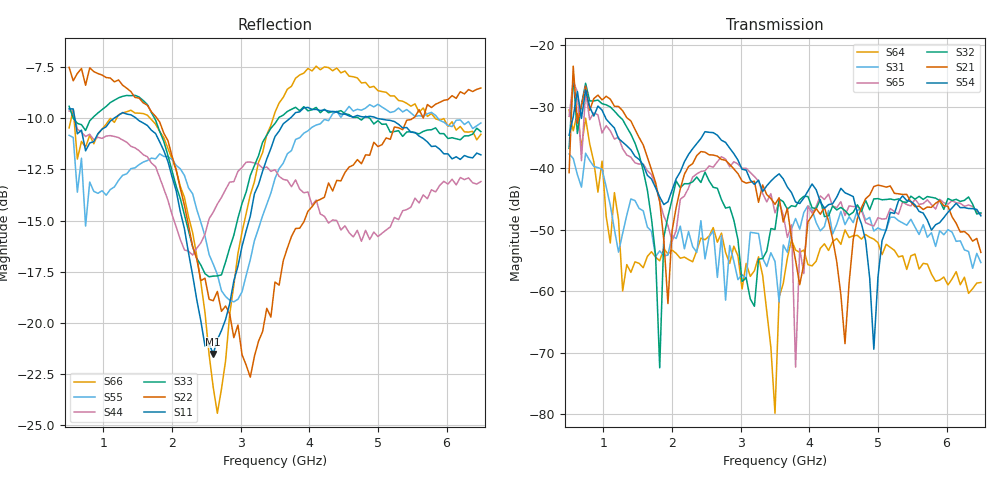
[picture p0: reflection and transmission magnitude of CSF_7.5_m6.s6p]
!Keysight Technologies,M9804A,MY58100912,A.14.10.03
!Date: Thursday, April 27, 2023 10:28:33
!Correction: S11(C  6-Port  )
!S12(C  6-Port  )
!S13(C  6-Port  )
!S14(C  6-Port  )
!S15(C  6-Port  )
!S16(C  6-Port  )
!S21(C  6-Port  )
!S22(C  6-Port  )
!S23(C  6-Port  )
!S24(C  6-Port  )
!S25(C  6-Port  )
!S26(C  6-Port  )
!S31(C  6-Port  )
!S32(C  6-Port  )
!S33(C  6-Port  )
!S34(C  6-Port  )
!S35(C  6-Port  )
!S36(C  6-Port  )
!S41(C  6-Port  )
!S42(C  6-Port  )
!S43(C  6-Port  )
!S44(C  6-Port  )
!S45(C  6-Port  )
!S46(C  6-Port  )
!S51(C  6-Port  )
!S52(C  6-Port  )
!S53(C  6-Port  )
!S54(C  6-Port  )
!S55(C  6-Port  )
!S56(C  6-Port  )
!S61(C  6-Port  )
!S62(C  6-Port  )
!S63(C  6-Port  )
!S64(C  6-Port  )
!S65(C  6-Port  )
!S66(C  6-Port  )
!S6P File: Measurement: :
# Hz S  RI  R 50
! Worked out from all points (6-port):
!   101 points, 500 MHz to 6.5 GHz, reference 50 ohm
!   strongest paths, dB at 500 MHz, 2 GHz, 3.5 GHz, 5 GHz, 6.5 GHz:
!     S54: -34.6, -43.6, -41.4, -57.8, -47.7
!     S21: -40.7, -50.2, -45.9, -42.7, -53.7
!     S32: -36.8, -45.0, -50.0, -44.9, -47.3
!     S65: -31.5, -51.9, -47.3, -48.0, -47.4
!     S31: -37.7, -51.0, -55.2, -49.7, -55.3
!     S64: -30.5, -53.3, -79.9, -52.1, -58.6
!   lowest |S11| = -21.5 dB at 2.6 GHz (marker M1), VSWR 1.18, Z = 42.5 + j1.94 ohm
!   |S11| at or under -10 dB: 582.6 MHz to 1.153 GHz (570.9 MHz wide, 65.8 % of centre); 1.478 GHz to 3.718 GHz (2.24 GHz wide, 86.2 % of centre); 4.987 GHz to end of sweep
